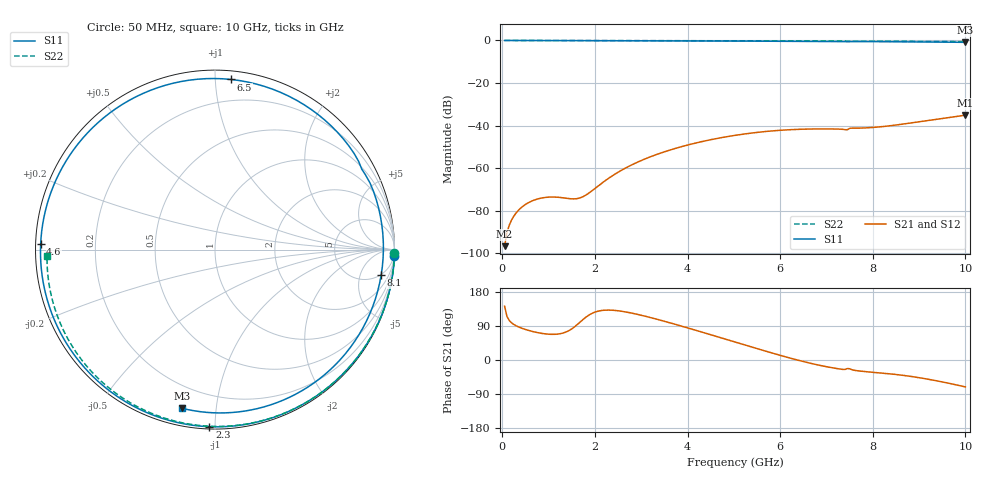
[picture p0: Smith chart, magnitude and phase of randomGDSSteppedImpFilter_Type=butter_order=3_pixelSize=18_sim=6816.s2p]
! freq	dB(S11)	phase(S11)	dB(S12)	phase(S12)
!  dB(S21)	phase(S21)	dB(S22)	phase(S22)
!S-par simulation data
#  GHz  S  DB  R 50
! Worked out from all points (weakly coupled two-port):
!   200 points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, 50 MHz to 10 GHz, reference 50 ohm
!   highest |S21| = -35.10 dB at 10 GHz (marker M1); lowest = -96.6 dB at 50 MHz (marker M2)
!   lowest |S11| = -0.9 dB at 10 GHz (marker M3), VSWR 19.63, Z = 4.23 - j40.6 ohm
!   |S11| at or under -10 dB: nowhere
!   |S22| runs from -0.6 to 0.0 dB; largest |S21 - S12| = 0
!   S11 on the Smith chart (normalised r, x): 50 MHz: 0, -55; 2.3 GHz: 0.01, -0.97; 4.6 GHz: 0.01, +0.02; 6.5 GHz: 0.05, +1.10; 8.1 GHz: 5, -11; 10 GHz: 0.08, -0.81
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0.05  -0.00 -2.1  -96.60 141.9  -96.60 141.9  -0.00 -1.0
0.35  -0.01 -14.5  -79.72 87.3  -79.72 87.3  -0.01 -7.3
0.55  -0.02 -22.7  -76.36 78.7  -76.36 78.7  -0.01 -11.5
0.85  -0.04 -34.8  -73.98 70.3  -73.98 70.3  -0.02 -17.6
1.75  -0.09 -70.6  -73.28 107.6  -73.28 107.6  -0.05 -35.9
2.3  -0.11 -91.8  -64.66 131.7  -64.66 131.7  -0.06 -46.7
2.85  -0.14 -112.8  -57.86 122.3  -57.86 122.3  -0.07 -57.4
3.4  -0.17 -133.8  -53.03 105.6  -53.03 105.6  -0.09 -67.7
4.05  -0.21 -159.2  -48.84 83.0  -48.84 83.0  -0.11 -79.6
4.6  -0.25 178.2  -46.17 63.1  -46.17 63.1  -0.13 -89.3
5.05  -0.29 158.6  -44.48 46.5  -44.48 46.5  -0.15 -97.1
5.85  -0.36 119.9  -42.43 17.5  -42.43 17.5  -0.19 -110.5
6.5  -0.43 84.6  -41.66 -4.1  -41.66 -4.1  -0.23 -121.2
6.7  -0.44 73.2  -41.57 -9.9  -41.57 -9.9  -0.24 -124.4
7.05  -0.48 52.6  -41.55 -18.9  -41.55 -18.9  -0.27 -130.1
7.4  -0.55 31.5  -41.88 -25.0  -41.88 -25.0  -0.29 -135.7
7.75  -0.54 11.3  -41.14 -29.6  -41.14 -29.6  -0.32 -141.2
8.1  -0.57 -8.8  -40.68 -33.4  -40.68 -33.4  -0.35 -146.8
8.35  -0.60 -22.6  -40.12 -36.2  -40.12 -36.2  -0.38 -150.8
9.15  -0.71 -63.4  -37.71 -49.7  -37.71 -49.7  -0.46 -163.7
9.55  -0.78 -81.9  -36.45 -59.1  -36.45 -59.1  -0.51 -170.3
10  -0.89 -101.6  -35.10 -71.0  -35.10 -71.0  -0.57 -177.8
